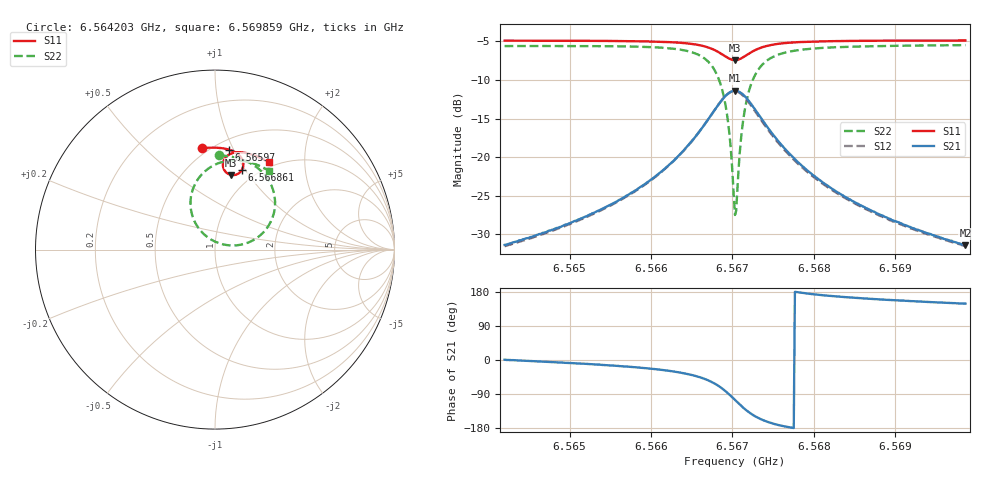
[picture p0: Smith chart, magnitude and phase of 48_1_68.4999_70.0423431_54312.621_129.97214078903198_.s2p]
#  HZ  S  RI  R  50.00
! Rohde & Schwarz Vector Network Analyzer
! Rohde-Schwarz,ZNB20-2Port,1311601062101988,3.16
! Created: UTC 3/20/2024, 5:05:52 PM
! freq[Hz]  re:S11  im:S11  re:S21  im:S21  re:S12  im:S12  re:S22  im:S22
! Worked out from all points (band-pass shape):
!   401 points, 6.564203 GHz to 6.569859 GHz, reference 50 ohm
!   highest |S21| = -11.39 dB at 6.567031 GHz (marker M1); lowest = -31.5 dB at 6.569859 GHz (marker M2)
!   |S21| within 3 dB of the highest: 6.566749 GHz to 6.567314 GHz (565.7 kHz wide, 0.00861 % of centre)
!   lowest |S11| = -7.4 dB at 6.567031 GHz (marker M3), VSWR 2.48, Z = 40.8 + j41.5 ohm
!   |S11| at or under -10 dB: nowhere
!   |S22| runs from -27.5 to -5.5 dB; largest |S21 - S12| = 0.012
!   S11 on the Smith chart (normalised r, x): 6.564203 GHz: 0.46, +0.77; 6.56597 GHz: 0.59, +0.96; 6.566861 GHz: 0.85, +0.97; 6.569859 GHz: 0.93, +1.34
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6.5642025e9  -0.0747 0.5641  0.0269 0.000306  0.0264 -0.000326  0.0244 0.5245
6.56515e9  0.00229 0.5679  0.0396 -0.00683  0.0389 -0.00726  0.1123 0.513
6.5659703e9  0.0771 0.5571  0.0642 -0.0265  0.0633 -0.0272  0.2134 0.4717
6.5660975e9  0.0902 0.5529  0.0707 -0.0333  0.0696 -0.0343  0.2339 0.4576
6.5664087e9  0.1252 0.5345  0.0911 -0.0645  0.0898 -0.0657  0.2924 0.3962
6.5666349e9  0.1507 0.5043  0.1047 -0.1166  0.1023 -0.1188  0.3321 0.2957
6.5667622e9  0.1579 0.4741  0.0979 -0.1692  0.0938 -0.1722  0.326 0.1954
6.5668612e9  0.1499 0.4438  0.0665 -0.2214  0.0595 -0.2241  0.2711 0.0977
6.5669036e9  0.1401 0.4311  0.0414 -0.2423  0.0328 -0.2441  0.2252 0.0595
6.5669461e9  0.1258 0.4211  0.00841 -0.258  -0.00175 -0.258  0.165 0.0324
6.5669743e9  0.1143 0.4168  -0.0171 -0.2638  -0.028 -0.2621  0.1187 0.0238
6.5670168e9  0.0953 0.4153  -0.0581 -0.2628  -0.0691 -0.2584  0.0461 0.0288
6.5670309e9  0.0888 0.4162  -0.0719 -0.2597  -0.0826 -0.2544  0.0224 0.0356
6.5670592e9  0.0764 0.4205  -0.0978 -0.2498  -0.1075 -0.2425  -0.0219 0.0561
6.5671016e9  0.0611 0.4313  -0.1308 -0.2266  -0.1386 -0.2173  -0.0763 0.1011
6.5671441e9  0.0504 0.4457  -0.1546 -0.1972  -0.1598 -0.1867  -0.1132 0.1556
6.5672006e9  0.0442 0.4666  -0.1712 -0.1558  -0.1732 -0.1454  -0.135 0.2298
6.5672713e9  0.0465 0.49  -0.1737 -0.11  -0.173 -0.1013  -0.1311 0.3094
6.5675259e9  0.0847 0.533  -0.1319 -0.0243  -0.1289 -0.0205  -0.0353 0.4526
6.5679784e9  0.1455 0.5423  -0.0766 0.00823  -0.075 0.00939  0.092 0.497
6.568926e9  0.2318 0.5201  -0.0371 0.0146  -0.0361 0.0148  0.2215 0.4775
6.5698593e9  0.2998 0.4858  -0.0228 0.0139  -0.0225 0.0141  0.3007 0.4394
